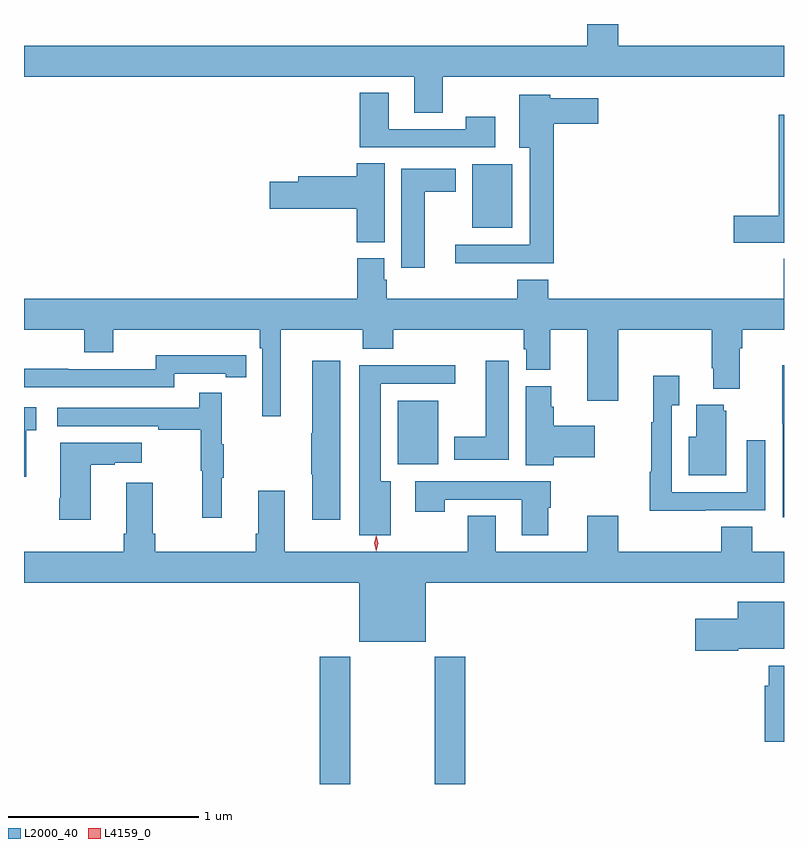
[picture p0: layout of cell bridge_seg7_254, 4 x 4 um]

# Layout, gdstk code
import gdstk
lib = gdstk.Library(unit=1e-6, precision=1e-09)
def R(c, l, rs):  # rectangles x0, y0, x1, y1
    for r in rs: c.add(gdstk.rectangle(r[:2], r[2:], *l))
def P(c, l, *ps):  # polygons
    for p in ps: c.add(gdstk.Polygon(p, *l))
L2000_40 = (2000, 40)
L4159_0 = (4159, 0)

bridge_seg7_254 = lib.new_cell('bridge_seg7_254')
R(bridge_seg7_254, L2000_40, [(223.541,1023.534,223.701,1024.204), (224.146,1023.534,224.306,1024.204), (223.952,1025.216,224.164,1025.551), (224.342,1026.461,224.554,1026.796)])
P(bridge_seg7_254, L2000_40, [(224.187,1027.256),(225.984,1027.256),(225.984,1027.42),(225.112,1027.42),(225.112,1027.534),(224.948,1027.534),(224.948,1027.42),(221.984,1027.42),(221.984,1027.256),(224.039,1027.256),(224.039,1027.066),(224.187,1027.066)],
  [(224.464,1027.045),(224.308,1027.045),(224.308,1026.981),(223.903,1026.981),(223.903,1027.171),(223.751,1027.171),(223.751,1026.885),(224.464,1026.885)],
  [(224.771,1027.01),(225.007,1027.01),(225.007,1027.144),(224.754,1027.144),(224.754,1027.162),(224.591,1027.162),(224.591,1026.884),(224.645,1026.884),(224.645,1026.372),(224.253,1026.372),(224.253,1026.275),(224.771,1026.275)],
  [(225.972,1026.384),(225.984,1026.384),(225.984,1027.057),(225.956,1027.057),(225.956,1026.524),(225.72,1026.524),(225.72,1026.382),(225.972,1026.382)],
  [(223.882,1026.8),(223.736,1026.8),(223.736,1026.734),(223.427,1026.734),(223.427,1026.704),(223.278,1026.704),(223.278,1026.562),(223.736,1026.562),(223.736,1026.385),(223.882,1026.385)],
  [(224.092,1026.65),(224.257,1026.65),(224.257,1026.772),(223.97,1026.772),(223.97,1026.252),(224.092,1026.252)],
  [(223.336,1025.924),(223.768,1025.924),(223.768,1025.825),(223.928,1025.825),(223.928,1025.924),(224.615,1025.924),(224.615,1025.823),(224.627,1025.823),(224.627,1025.713),(224.755,1025.713),(224.755,1025.924),(224.948,1025.924),(224.948,1025.55),(225.112,1025.55),(225.112,1025.924),(225.604,1025.924),(225.604,1025.722),(225.611,1025.722),(225.611,1025.615),(225.751,1025.615),(225.751,1025.828),(225.764,1025.828),(225.764,1025.924),(225.984,1025.924),(225.984,1026.299),(225.983,1026.299),(225.983,1026.088),(224.744,1026.088),(224.744,1026.187),(224.579,1026.187),(224.579,1026.088),(223.892,1026.088),(223.892,1026.189),(223.879,1026.189),(223.879,1026.3),(223.739,1026.3),(223.739,1026.088),(221.984,1026.088),(221.984,1025.924),(222.302,1025.924),(222.302,1025.807),(222.454,1025.807),(222.454,1025.924),(223.226,1025.924),(223.226,1025.828),(223.239,1025.828),(223.239,1025.469),(223.336,1025.469)],
  [(222.774,1025.694),(223.046,1025.694),(223.046,1025.674),(223.154,1025.674),(223.154,1025.79),(223.046,1025.79),(223.046,1025.791),(222.678,1025.791),(222.678,1025.718),(222.218,1025.718),(222.218,1025.72),(221.984,1025.72),(221.984,1025.622),(222.774,1025.622)],
  [(224.536,1025.761),(224.414,1025.761),(224.414,1025.362),(224.249,1025.362),(224.249,1025.24),(224.536,1025.24)],
  [(223.648,1025.761),(223.502,1025.761),(223.502,1025.381),(223.495,1025.381),(223.495,1025.164),(223.502,1025.164),(223.502,1024.926),(223.648,1024.926)],
  [(223.915,1025.128),(223.861,1025.128),(223.861,1025.64),(224.254,1025.64),(224.254,1025.738),(223.748,1025.738),(223.748,1024.842),(223.915,1024.842)],
  [(225.984,1025.738),(225.976,1025.738),(225.976,1025.431),(225.978,1025.431),(225.978,1024.938),(225.984,1024.938)],
  [(225.569,1024.974),(225.885,1024.974),(225.885,1025.344),(225.789,1025.344),(225.789,1025.07),(225.393,1025.07),(225.393,1025.527),(225.433,1025.527),(225.433,1025.683),(225.296,1025.683),(225.296,1025.438),(225.285,1025.438),(225.285,1025.177),(225.277,1025.177),(225.277,1024.973),(225.569,1024.973)],
  [(224.771,1025.254),(224.989,1025.254),(224.989,1025.419),(224.771,1025.419),(224.771,1025.519),(224.758,1025.519),(224.758,1025.628),(224.624,1025.628),(224.624,1025.212),(224.771,1025.212)],
  [(223.025,1025.147),(223.036,1025.147),(223.036,1025.321),(223.025,1025.321),(223.025,1025.593),(222.907,1025.593),(222.907,1025.514),(222.159,1025.514),(222.159,1025.418),(222.691,1025.418),(222.691,1025.398),(222.915,1025.398),(222.915,1025.184),(222.922,1025.184),(222.922,1024.935),(223.025,1024.935)],
  [(225.679,1025.499),(225.668,1025.499),(225.668,1025.53),(225.521,1025.53),(225.521,1025.362),(225.482,1025.362),(225.482,1025.159),(225.679,1025.159)],
  [(221.996,1025.397),(222.049,1025.397),(222.049,1025.518),(221.984,1025.518),(221.984,1025.151),(221.996,1025.151)],
  [(222.334,1025.215),(222.461,1025.215),(222.461,1025.225),(222.604,1025.225),(222.604,1025.329),(222.176,1025.329),(222.176,1025.038),(222.169,1025.038),(222.169,1024.926),(222.334,1024.926)],
  [(224.743,1024.989),(224.756,1024.989),(224.756,1025.127),(224.043,1025.127),(224.043,1024.968),(224.199,1024.968),(224.199,1025.031),(224.603,1025.031),(224.603,1024.842),(224.743,1024.842)],
  [(223.357,1025.077),(223.217,1025.077),(223.217,1024.852),(223.205,1024.852),(223.205,1024.756),(222.674,1024.756),(222.674,1024.852),(222.661,1024.852),(222.661,1025.119),(222.521,1025.119),(222.521,1024.852),(222.509,1024.852),(222.509,1024.756),(221.984,1024.756),(221.984,1024.592),(223.748,1024.592),(223.748,1024.283),(224.098,1024.283),(224.098,1024.592),(225.984,1024.592),(225.984,1024.756),(225.818,1024.756),(225.818,1024.889),(225.653,1024.889),(225.653,1024.756),(225.112,1024.756),(225.112,1024.945),(224.948,1024.945),(224.948,1024.756),(224.467,1024.756),(224.467,1024.946),(224.32,1024.946),(224.32,1024.756),(223.357,1024.756)],
  [(225.744,1024.247),(225.984,1024.247),(225.984,1024.492),(225.74,1024.492),(225.74,1024.405),(225.516,1024.405),(225.516,1024.235),(225.744,1024.235)],
  [(225.984,1024.156),(225.903,1024.156),(225.903,1024.052),(225.883,1024.052),(225.883,1023.756),(225.984,1023.756)])
P(bridge_seg7_254, L4159_0, [(223.838,1024.76),(223.838,1024.76),(223.828,1024.801),(223.837,1024.841),(223.837,1024.841),(223.838,1024.841),(223.848,1024.801),(223.838,1024.76)])

lib.write_gds('bridge_seg7_254.gds')
